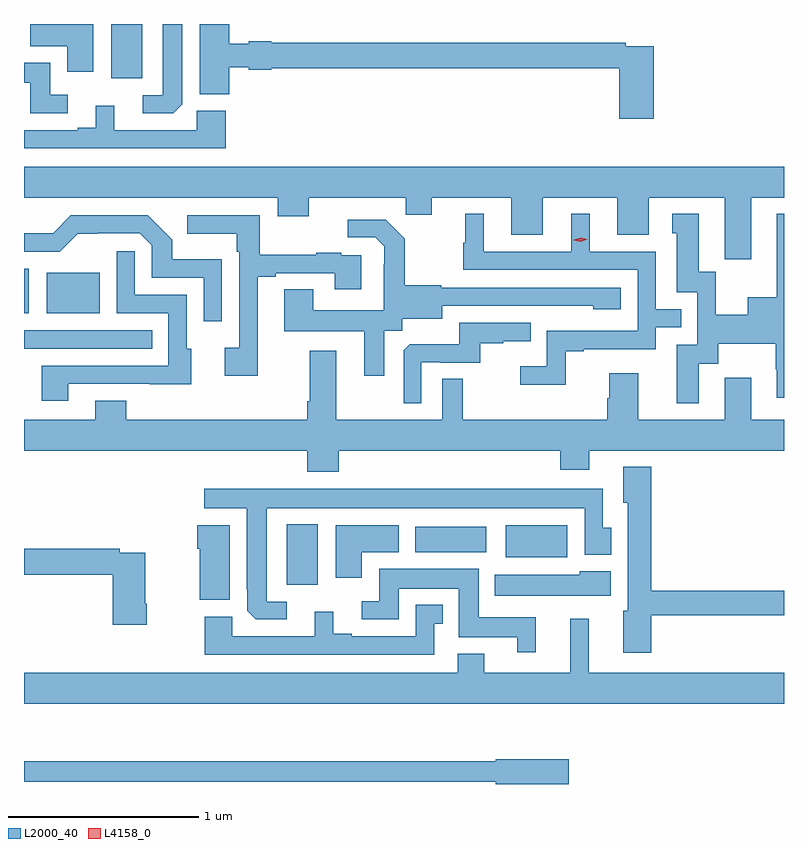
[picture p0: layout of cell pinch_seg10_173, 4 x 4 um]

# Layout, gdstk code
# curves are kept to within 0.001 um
import gdstk
lib = gdstk.Library(unit=1e-6, precision=1e-09)
def R(c, l, rs):  # rectangles x0, y0, x1, y1
    for r in rs: c.add(gdstk.rectangle(r[:2], r[2:], *l))
def P(c, l, *ps):  # polygons
    for p in ps: c.add(gdstk.Polygon(p, *l))
L2000_40 = (2000, 40)
L4158_0 = (4158, 0)

pinch_seg10_173 = lib.new_cell('pinch_seg10_173')
R(pinch_seg10_173, L2000_40, [(664.637,1250.328,664.801,1250.644), (665.789,1250.471,666.112,1250.641), (665.312,1250.498,665.686,1250.632), (663.254,1251.57,663.929,1251.666), (663.254,1251.755,663.28,1251.991), (663.374,1251.755,663.652,1251.97), (663.713,1252.992,663.877,1253.278)])
P(pinch_seg10_173, L2000_40, [(666.569,1253.16),(666.422,1253.16),(666.422,1253.18),(664.554,1253.18),(664.554,1253.188),(664.436,1253.188),(664.436,1253.173),(664.334,1253.173),(664.334,1253.278),(664.178,1253.278),(664.178,1252.907),(664.334,1252.907),(664.334,1253.051),(664.436,1253.051),(664.436,1253.036),(664.554,1253.036),(664.554,1253.044),(666.386,1253.044),(666.386,1252.779),(666.569,1252.779)],
  [(664.086,1252.855),(664.086,1252.966),(664.087,1252.966),(664.087,1253.278),(663.983,1253.278),(663.983,1252.902),(663.879,1252.902),(663.879,1252.809),(664.04,1252.809)],
  [(663.619,1253.278),(663.287,1253.278),(663.287,1253.162),(663.482,1253.162),(663.482,1253.028),(663.619,1253.028)],
  [(663.484,1252.905),(663.391,1252.905),(663.391,1253.074),(663.254,1253.074),(663.254,1252.97),(663.287,1252.97),(663.287,1252.809),(663.484,1252.809)],
  [(664.316,1252.822),(664.164,1252.822),(664.164,1252.719),(663.73,1252.719),(663.73,1252.849),(663.632,1252.849),(663.632,1252.732),(663.536,1252.732),(663.536,1252.719),(663.254,1252.719),(663.254,1252.623),(664.316,1252.623)],
  [(667.081,1252.364),(667.254,1252.364),(667.254,1252.528),(663.254,1252.528),(663.254,1252.364),(664.589,1252.364),(664.589,1252.265),(664.753,1252.265),(664.753,1252.364),(665.263,1252.364),(665.263,1252.274),(665.401,1252.274),(665.401,1252.364),(665.819,1252.364),(665.819,1252.17),(665.983,1252.17),(665.983,1252.364),(666.377,1252.364),(666.377,1252.17),(666.541,1252.17),(666.541,1252.364),(666.941,1252.364),(666.941,1252.153),(666.942,1252.153),(666.942,1252.041),(667.081,1252.041)],
  [(666.805,1251.49),(666.907,1251.49),(666.907,1251.596),(667.21,1251.596),(667.21,1251.462),(667.217,1251.462),(667.217,1251.312),(667.254,1251.312),(667.254,1252.279),(667.217,1252.279),(667.217,1251.841),(667.064,1251.841),(667.064,1251.748),(666.894,1251.748),(666.894,1251.975),(666.805,1251.975),(666.805,1252.279),(666.665,1252.279),(666.665,1252.176),(666.689,1252.176),(666.689,1251.867),(666.798,1251.867),(666.798,1251.591),(666.689,1251.591),(666.689,1251.282),(666.805,1251.282)],
  [(666.105,1251.555),(666.199,1251.555),(666.199,1251.567),(666.579,1251.567),(666.579,1251.681),(666.713,1251.681),(666.713,1251.777),(666.579,1251.777),(666.579,1252.08),(666.232,1252.08),(666.232,1252.279),(666.134,1252.279),(666.134,1252.08),(665.674,1252.08),(665.674,1252.279),(665.576,1252.279),(665.576,1252.128),(665.565,1252.128),(665.565,1251.984),(666.483,1251.984),(666.483,1251.663),(666.006,1251.663),(666.006,1251.478),(665.865,1251.478),(665.865,1251.38),(666.105,1251.38)],
  [(664.296,1252.039),(664.035,1252.039),(664.035,1252.142),(663.904,1252.272),(663.501,1252.272),(663.407,1252.178),(663.254,1252.178),(663.254,1252.08),(663.441,1252.08),(663.536,1252.175),(663.864,1252.176),(663.927,1252.113),(663.927,1251.942),(664.2,1251.942),(664.2,1251.714),(664.296,1251.714)],
  [(664.483,1251.948),(664.579,1251.948),(664.579,1251.966),(664.889,1251.966),(664.889,1251.882),(665.029,1251.882),(665.029,1252.062),(664.925,1252.062),(664.925,1252.075),(664.793,1252.075),(664.793,1252.064),(664.495,1252.064),(664.495,1252.272),(664.113,1252.272),(664.113,1252.175),(664.374,1252.175),(664.374,1252.079),(664.386,1252.079),(664.386,1251.574),(664.311,1251.574),(664.311,1251.426),(664.483,1251.426)],
  [(665.149,1251.664),(665.244,1251.664),(665.244,1251.728),(665.455,1251.728),(665.455,1251.795),(666.249,1251.794),(666.249,1251.776),(666.394,1251.776),(666.394,1251.891),(665.451,1251.891),(665.451,1251.904),(665.259,1251.904),(665.259,1252.149),(665.159,1252.249),(664.959,1252.249),(664.959,1252.155),(665.103,1252.155),(665.15,1252.108),(665.15,1252.013),(665.148,1252.013),(665.148,1251.772),(664.777,1251.772),(664.777,1251.881),(664.625,1251.881),(664.625,1251.662),(665.045,1251.662),(665.045,1251.426),(665.149,1251.426)],
  [(663.487,1251.384),(663.917,1251.384),(663.917,1251.383),(664.135,1251.383),(664.135,1251.57),(664.11,1251.57),(664.11,1251.852),(663.837,1251.852),(663.837,1252.081),(663.741,1252.081),(663.741,1251.756),(664.014,1251.756),(664.014,1251.48),(663.347,1251.48),(663.347,1251.294),(663.487,1251.294)],
  [(665.346,1251.498),(665.446,1251.498),(665.446,1251.495),(665.654,1251.495),(665.654,1251.597),(665.777,1251.597),(665.777,1251.608),(665.921,1251.608),(665.921,1251.705),(665.544,1251.705),(665.544,1251.593),(665.285,1251.593),(665.253,1251.561),(665.253,1251.281),(665.346,1251.281)],
  [(664.91,1251.032),(666.077,1251.032),(666.077,1250.933),(666.229,1250.933),(666.229,1251.032),(667.254,1251.032),(667.254,1251.196),(667.081,1251.196),(667.081,1251.415),(666.941,1251.415),(666.941,1251.196),(666.487,1251.196),(666.487,1251.439),(666.335,1251.439),(666.335,1251.309),(666.323,1251.309),(666.323,1251.196),(665.563,1251.196),(665.563,1251.41),(665.454,1251.41),(665.454,1251.196),(664.897,1251.196),(664.897,1251.559),(664.757,1251.559),(664.757,1251.292),(664.745,1251.292),(664.745,1251.196),(663.793,1251.196),(663.793,1251.295),(663.629,1251.295),(663.629,1251.196),(663.254,1251.196),(663.254,1251.032),(664.745,1251.032),(664.745,1250.921),(664.91,1250.921)],
  [(666.554,1250.166),(667.254,1250.166),(667.254,1250.294),(666.554,1250.294),(666.554,1250.947),(666.407,1250.947),(666.407,1250.757),(666.431,1250.757),(666.431,1250.19),(666.407,1250.19),(666.407,1249.968),(666.554,1249.968)],
  [(664.636,1250.238),(664.531,1250.238),(664.531,1250.729),(666.204,1250.729),(666.204,1250.484),(666.346,1250.484),(666.346,1250.628),(666.301,1250.628),(666.301,1250.833),(664.203,1250.833),(664.203,1250.729),(664.427,1250.729),(664.428,1250.191),(664.474,1250.145),(664.636,1250.145)],
  [(665.032,1250.498),(665.227,1250.498),(665.227,1250.641),(664.895,1250.641),(664.895,1250.364),(665.032,1250.364)],
  [(664.336,1250.641),(664.166,1250.641),(664.166,1250.516),(664.178,1250.516),(664.178,1250.249),(664.336,1250.249)],
  [(663.9,1250.227),(663.892,1250.227),(663.892,1250.496),(663.758,1250.496),(663.758,1250.516),(663.254,1250.516),(663.254,1250.38),(663.722,1250.38),(663.722,1250.115),(663.9,1250.115)],
  [(665.948,1250.155),(665.647,1250.155),(665.647,1250.41),(665.123,1250.41),(665.123,1250.241),(665.031,1250.241),(665.031,1250.145),(665.227,1250.145),(665.227,1250.306),(665.543,1250.306),(665.543,1250.051),(665.849,1250.051),(665.849,1249.971),(665.948,1249.971)],
  [(666.343,1250.398),(666.18,1250.398),(666.18,1250.38),(665.732,1250.38),(665.732,1250.27),(666.343,1250.27)],
  [(665.412,1250.121),(665.458,1250.121),(665.458,1250.221),(665.316,1250.221),(665.316,1250.055),(664.978,1250.055),(664.978,1250.068),(664.882,1250.068),(664.882,1250.185),(664.784,1250.185),(664.784,1250.055),(664.35,1250.055),(664.35,1250.158),(664.204,1250.158),(664.204,1249.959),(665.412,1249.959)],
  [(667.254,1249.864),(666.227,1249.864),(666.227,1250.149),(666.128,1250.149),(666.128,1249.864),(665.677,1249.864),(665.677,1249.963),(665.537,1249.963),(665.537,1249.864),(663.254,1249.864),(663.254,1249.7),(667.254,1249.7)],
  [(666.121,1249.407),(665.736,1249.407),(665.736,1249.399),(663.254,1249.399),(663.254,1249.29),(665.736,1249.29),(665.736,1249.278),(666.121,1249.278)])
P(pinch_seg10_173, L4158_0, [(666.183,1252.133),(666.148,1252.141),(666.147,1252.142),(666.148,1252.142),(666.183,1252.153),(666.218,1252.144),(666.219,1252.144),(666.218,1252.144)])

lib.write_gds('pinch_seg10_173.gds')
